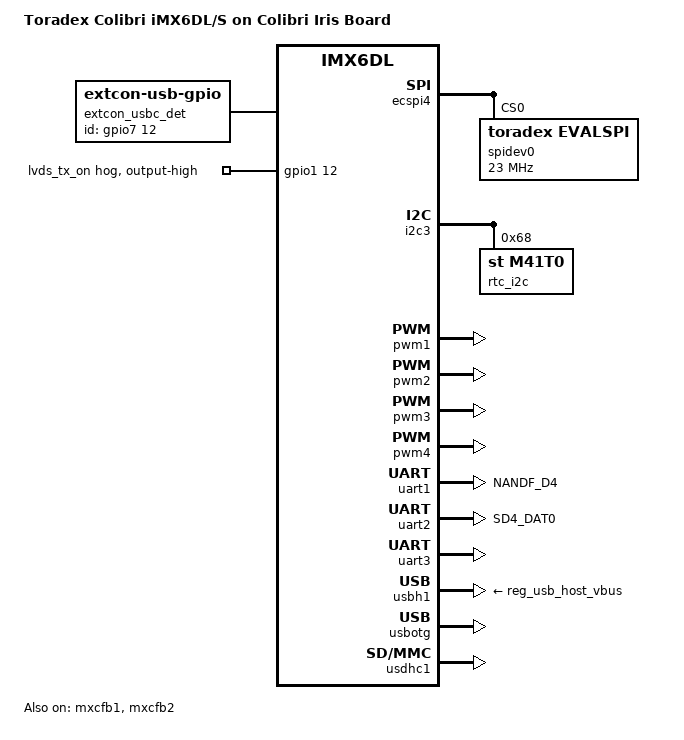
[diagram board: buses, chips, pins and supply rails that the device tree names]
// SPDX-License-Identifier: GPL-2.0+ OR X11
/*
 * Copyright 2018-2019 Toradex
 */

/dts-v1/;

#include <dt-bindings/input/input.h>
#include <dt-bindings/interrupt-controller/irq.h>
#include <dt-bindings/pwm/pwm.h>
#include "imx6dl.dtsi"
#include "imx6qdl-colibri.dtsi"

/ {
	model = "Toradex Colibri iMX6DL/S on Colibri Iris Board";
	compatible = "toradex,colibri_imx6dl-iris", \
			"toradex,colibri_imx6dl", "fsl,imx6dl";

	extcon_usbc_det: usbc_det {
		compatible = "linux,extcon-usb-gpio";
		debounce = <25>;
		id-gpio = <&gpio7 12 GPIO_ACTIVE_HIGH>;
		pinctrl-names = "default";
		pinctrl-0 = <&pinctrl_usbc_det>;
	};
};

/* Colibri SSP */
&ecspi4 {
	status = "okay";

	spidev0: spidev@0 {
		compatible = "toradex,evalspi";
		reg = <0>;
		spi-max-frequency = <23000000>;
		status = "okay";
	};
};

/*
 * I2C: I2C3_SDA/SCL on SODIMM 194/196 (e.g. RTC on carrier
 * board)
 */
&i2c3 {
	status = "okay";

	/* M41T0M6 real time clock on carrier board */
	rtc_i2c: rtc@68 {
		compatible = "st,m41t0";
		reg = <0x68>;
	};
};

&mxcfb1 {
	status = "okay";
};

&mxcfb2 {
	status = "okay";
};

&pwm1 {
	status = "okay";
};

&pwm2 {
	status = "okay";
};

&pwm3 {
	status = "okay";
};

&pwm4 {
	status = "okay";
};

&reg_usb_host_vbus {
	status = "okay";
};

/* Colibri UART_A */
&uart1 {
	status = "okay";
	pinctrl-names = "default";
	pinctrl-0 = <&pinctrl_uart1_dte &pinctrl_uart1_ctrl
			&pinctrl_uart1_forceoff>;
};

/* Colibri UART_B */
&uart2 {
	status = "okay";
	pinctrl-names = "default";
	pinctrl-0 = <&pinctrl_uart2_dte &pinctrl_uart23_forceoff>;
};

/* Colibri UART_C */
&uart3 {
	status = "okay";
	/*
	 * Note that UART3 is on the same tranceiver as UART2 and this needs
	 * to be enabled with the pinmuxing &pinctrl_uart23_forceoff
	 */
};

&usbh1 {
	vbus-supply = <&reg_usb_host_vbus>;
	status = "okay";
};

&usbotg {
	status = "okay";
	extcon = <&extcon_usbc_det>, <&extcon_usbc_det>;
};

&usdhc1 {
	status = "okay";
};

&gpio1 {
	/*
	 * This turns the LVDS transceiver on. If one wants to turn the
	 * transceiver off, that property has to be deleted and the gpio handled
	 * in userspace.
	 */
	lvds_tx_on {
		gpio-hog;
		gpios = <12 0>;
		output-high;
	};
};

&iomuxc {
	pinctrl-names = "default";
	pinctrl-0 = <&pinctrl_gpio_iris>;

	gpio {
		pinctrl_gpio_iris: gpio-iris {
			fsl,pins = <
				MX6QDL_PAD_SD2_DAT0__GPIO1_IO15	0x1b0b0 /* SODIMM 98 */
				MX6QDL_PAD_NANDF_D3__GPIO2_IO03	0x1b0b0 /* SODIMM 133 */
				MX6QDL_PAD_EIM_A18__GPIO2_IO20	0x1b0b0 /* SODIMM 103 */
				MX6QDL_PAD_EIM_A17__GPIO2_IO21	0x1b0b0 /* SODIMM 101 */
				MX6QDL_PAD_EIM_A20__GPIO2_IO18	0x1b0b0 /* SODIMM 97 */
				MX6QDL_PAD_EIM_A23__GPIO6_IO06	0x1b0b0 /* SODIMM 85 */
				MX6QDL_PAD_EIM_A19__GPIO2_IO19	0x1b0b0 /* SODIMM 79 */
				MX6QDL_PAD_EIM_A16__GPIO2_IO22	0x1b0b0 /* SODIMM 45 */
			>;
		};
	};

	uart {
		pinctrl_uart1_forceoff: uart1_forceoff {
			fsl,pins = <
				MX6QDL_PAD_NANDF_D4__GPIO2_IO04 0x1b0b0
			>;
		};

		pinctrl_uart23_forceoff: uart23_forceoff {
			fsl,pins = <
				MX6QDL_PAD_SD4_DAT0__GPIO2_IO08 0x1b0b0
			>;
		};
	};
};
